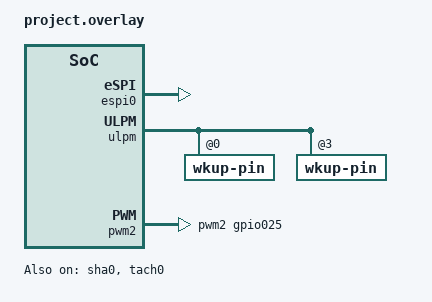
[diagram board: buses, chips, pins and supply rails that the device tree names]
/* Copyright 2026 The ChromiumOS Authors
 * Use of this source code is governed by a BSD-style license that can be
 * found in the LICENSE file.
 */

/* atria program common DTS includes */
#include <cros/integrated_fwid.dtsi>


/* atriarvp-rtk project DTS includes. These files generally describe hardware
 * physically located on the RTS5915 MECC and therefore specific to
 * atriarvp-rtk.
 */
#include "adc.dtsi"
#include "atria_ec_ufsc.dtsi"
#include "gpio.dtsi"
#include "i2c.dtsi"
#include "keyboard.dtsi"
#include "power_signals.dtsi"

/* These files generally describe hardware physically located on the atria RVP
 * or AICs other than the MECC and therefore specific to NVL RVP builds.
 * (atriarvp-rtk is currently the only such build.)
 */
#include "rvp_battery.dtsi"
#include "rvp_fan.dtsi"
#include "rvp_i2c.dtsi"
#include "rvp_ioex_gpio.dtsi"
#include "rvp_pd.dtsi"
#include "rvp_usbc.dtsi"
#include "rvp_runtime_pdc.dtsi"
#include "rvp_temp_sensors.dtsi"

#include <ite/it8801-common-cfg.dtsi>

/* atriarvp-rtk overrides follow... */

/ {
	cse_early_recovery: cse-early-recovery {
		compatible = "cros-ec,cse-early-rec";
	        cse-early-rec-gpios = <RTS5912_GPIO015 (GPIO_OPEN_DRAIN | GPIO_ACTIVE_HIGH | GPIO_VOLTAGE_1P8)>;
	};

	chosen {
		cros-ec,keyboard = &kbd;
	};
};

&it8801_mfd {
	irq-gpios = <RTS5912_GPIO085 GPIO_ACTIVE_LOW>;
};

&cbi_flash {
	offset = <0x7F000>;
	size = <0x1000>;
};

&espi0 {
	status = "okay";
};

&sha0 {
	status = "okay";
};

&pdc_ti_c0 {
	irq-gpios = <RTS5912_GPIO027 GPIO_ACTIVE_LOW>;
};

&pdc_ti_c1 {
	irq-gpios = <RTS5912_GPIO027 GPIO_ACTIVE_LOW>;
};

&pdc_ti_c2 {
	irq-gpios = <RTS5912_GPIO027 GPIO_ACTIVE_LOW>;
};

&ulpm {
	status = "okay";
	/* BC_ACOK: AC power present, wakes EC on rising edge */
	wkup-pin@0 {
		wkup-pin-mode = "vin";
		wkup-pin-pol = "rising";
	};
	/* Power button: active-low, wakes EC on falling edge */
	wkup-pin@3 {
		wkup-pin-mode = "vin";
		wkup-pin-pol = "falling";
	};
};

/* Map temp sensor power good */
gpio_temp_sensor_power_good: &gpio_en_pp3300 {};
/* Map Tach to common name */
tach_fan0: &tach0 {
       status = "okay";
       pinctrl-0 = <&tacho0_gpio052>;
       pinctrl-names = "default";
       pulses-per-round = <2>;
};

&fan_0 {
       pwms = <&pwm2 0 PWM_KHZ(25) PWM_POLARITY_NORMAL>;
};

&pwm2 {
        status = "okay";
        pinctrl-0 = <&pwm2_gpio025>;
        pinctrl-names = "default";
};
